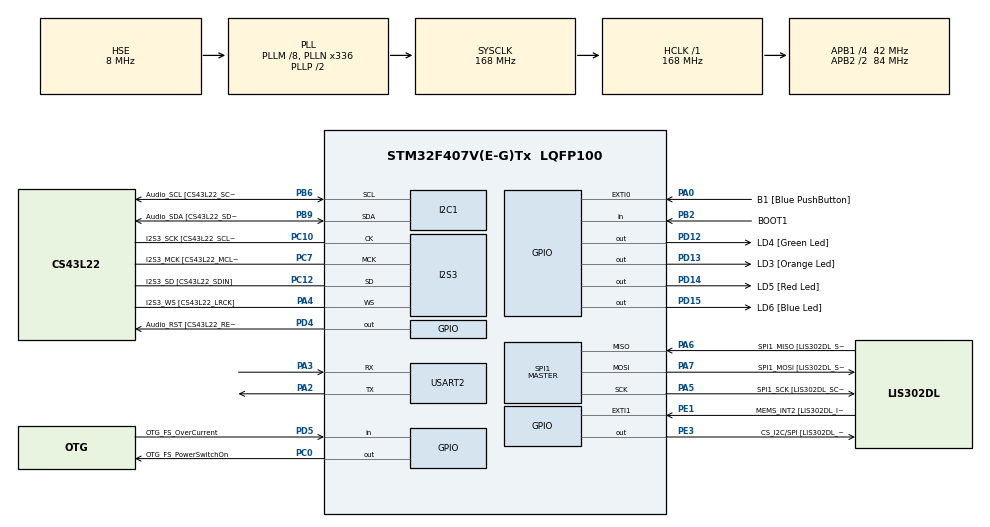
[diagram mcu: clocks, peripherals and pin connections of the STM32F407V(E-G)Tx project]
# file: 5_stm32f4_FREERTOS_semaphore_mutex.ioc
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FREERTOS.BinarySemaphores01=myBinarySem01,Dynamic,NULL
FREERTOS.Mutexes01=myUARTMutex,Dynamic,NULL
FREERTOS.Tasks01=defaultTask,24,1000,StartDefaultTask,Default,NULL,Dynamic,NULL,NULL;Green_LED,8,1000,Green_LED_task,Default,NULL,Dynamic,NULL,NULL;Red_LED,8,1000,Red_LED_task,Default,NULL,Dynamic,NULL,NULL
FREERTOS.configMINIMAL_STACK_SIZE=1000
FREERTOS.configTOTAL_HEAP_SIZE=100000
I2S3.AudioFreq-Half_Duplex_Master=I2S_AUDIOFREQ_96K
I2S3.ErrorAudioFreq=-2.34 %
I2S3.ErrorAudioFreq-Half_Duplex_Master=0.8 %
I2S3.FullDuplexMode=I2S_FULLDUPLEXMODE_DISABLE
I2S3.Instance=SPI$Index
I2S3.RealAudioFreq=93.75 KHz
I2S3.RealAudioFreq-Half_Duplex_Master=96.774 KHz
I2S3.VirtualMode=I2S_MODE_MASTER
Mcu.Family=STM32F4
Mcu.Name=STM32F407V(E-G)Tx
Mcu.Package=LQFP100
NVIC.EXTI0_IRQn=true\:5\:0\:false\:false\:true\:true\:true\:true
NVIC.PriorityGroup=NVIC_PRIORITYGROUP_4
NVIC.TIM8_TRG_COM_TIM14_IRQn=true\:0\:0\:false\:false\:true\:false\:false\:true
NVIC.TimeBase=TIM8_TRG_COM_TIM14_IRQn
NVIC.TimeBaseIP=TIM14
NVIC.USART2_IRQn=true\:5\:0\:false\:false\:true\:true\:true\:true
PA0-WKUP.GPIO_Label=B1 [Blue PushButton]
PA0-WKUP.GPIO_ModeDefaultEXTI=GPIO_MODE_IT_RISING
PA0-WKUP.GPIO_PuPd=GPIO_NOPULL
PA0-WKUP.Signal=GPXTI0
PA10.GPIO_Label=OTG_FS_ID
PA10.GPIO_Mode=GPIO_MODE_AF_PP
PA10.GPIO_PuPd=GPIO_NOPULL
PA10.GPIO_Speed=GPIO_SPEED_FREQ_LOW
PA10.Signal=USB_OTG_FS_ID
PA11.GPIO_Label=OTG_FS_DM
PA11.GPIO_Mode=GPIO_MODE_AF_PP
PA11.GPIO_PuPd=GPIO_NOPULL
PA11.GPIO_Speed=GPIO_SPEED_FREQ_LOW
PA11.Signal=USB_OTG_FS_DM
PA12.GPIO_Label=OTG_FS_DP
PA12.GPIO_Mode=GPIO_MODE_AF_PP
PA12.GPIO_PuPd=GPIO_NOPULL
PA12.GPIO_Speed=GPIO_SPEED_FREQ_LOW
PA12.Signal=USB_OTG_FS_DP
PA13.GPIO_Label=SWDIO
PA13.Mode=Serial_Wire
PA13.Signal=SYS_JTMS-SWDIO
PA14.GPIO_Label=SWCLK
PA14.Mode=Serial_Wire
PA14.Signal=SYS_JTCK-SWCLK
PA2.Mode=Asynchronous
PA2.Signal=USART2_TX
PA3.Mode=Asynchronous
PA3.Signal=USART2_RX
PA4.GPIO_Label=I2S3_WS [CS43L22_LRCK]
PA4.GPIO_Mode=GPIO_MODE_AF_PP
PA4.GPIO_PuPd=GPIO_NOPULL
PA4.GPIO_Speed=GPIO_SPEED_FREQ_LOW
PA4.Mode=Half_Duplex_Master
PA4.Signal=I2S3_WS
PA5.GPIO_Label=SPI1_SCK [LIS302DL_SCL/SPC]
PA5.GPIO_Mode=GPIO_MODE_AF_PP
PA5.GPIO_PuPd=GPIO_NOPULL
PA5.GPIO_Speed=GPIO_SPEED_FREQ_LOW
PA5.Mode=Full_Duplex_Master
PA5.Signal=SPI1_SCK
PA6.GPIO_Label=SPI1_MISO [LIS302DL_SDO]
PA6.GPIO_Mode=GPIO_MODE_AF_PP
PA6.GPIO_PuPd=GPIO_NOPULL
PA6.GPIO_Speed=GPIO_SPEED_FREQ_LOW
PA6.Mode=Full_Duplex_Master
PA6.Signal=SPI1_MISO
PA7.GPIO_Label=SPI1_MOSI [LIS302DL_SDA/SDI/SDO]
PA7.GPIO_Mode=GPIO_MODE_AF_PP
PA7.GPIO_PuPd=GPIO_NOPULL
PA7.GPIO_Speed=GPIO_SPEED_FREQ_LOW
PA7.Mode=Full_Duplex_Master
PA7.Signal=SPI1_MOSI
PA9.GPIO_Label=VBUS_FS
PA9.GPIO_Mode=GPIO_MODE_INPUT
PA9.GPIO_PuPd=GPIO_NOPULL
PA9.Signal=USB_OTG_FS_VBUS
PB10.GPIO_Label=CLK_IN [MP45DT02_CLK]
PB10.GPIO_Mode=GPIO_MODE_AF_PP
PB10.GPIO_PuPd=GPIO_NOPULL
PB10.GPIO_Speed=GPIO_SPEED_FREQ_LOW
PB10.Signal=I2S2_CK
PB2.GPIO_Label=BOOT1
PB2.GPIO_Mode=GPIO_MODE_INPUT
PB2.GPIO_PuPd=GPIO_NOPULL
PB2.Signal=GPIO_Input
PB3.GPIO_Label=SWO
PB3.Signal=SYS_JTDO-SWO
PB6.GPIO_Label=Audio_SCL [CS43L22_SCL]
PB6.GPIO_Mode=GPIO_MODE_AF_OD
PB6.GPIO_PuPd=GPIO_NOPULL
PB6.GPIO_Speed=GPIO_SPEED_FREQ_LOW
PB6.Mode=I2C
PB6.Signal=I2C1_SCL
PB9.GPIO_Label=Audio_SDA [CS43L22_SDA]
PB9.GPIO_Mode=GPIO_MODE_AF_OD
PB9.GPIO_PuPd=GPIO_NOPULL
PB9.GPIO_Speed=GPIO_SPEED_FREQ_LOW
PB9.Mode=I2C
PB9.Signal=I2C1_SDA
PC0.GPIO_Label=OTG_FS_PowerSwitchOn
PC0.GPIO_PuPd=GPIO_NOPULL
PC0.GPIO_Speed=GPIO_SPEED_FREQ_LOW
PC0.PinState=GPIO_PIN_SET
PC0.Signal=GPIO_Output
PC10.GPIO_Label=I2S3_SCK [CS43L22_SCLK]
PC10.GPIO_Mode=GPIO_MODE_AF_PP
PC10.GPIO_PuPd=GPIO_NOPULL
PC10.GPIO_Speed=GPIO_SPEED_FREQ_LOW
PC10.Mode=Half_Duplex_Master
PC10.Signal=I2S3_CK
PC12.GPIO_Label=I2S3_SD [CS43L22_SDIN]
PC12.GPIO_Mode=GPIO_MODE_AF_PP
PC12.GPIO_PuPd=GPIO_NOPULL
PC12.GPIO_Speed=GPIO_SPEED_FREQ_LOW
PC12.Mode=Half_Duplex_Master
PC12.Signal=I2S3_SD
PC14-OSC32_IN.GPIO_Label=PC14-OSC32_IN
PC14-OSC32_IN.Mode=LSE-External-Oscillator
PC14-OSC32_IN.Signal=RCC_OSC32_IN
PC15-OSC32_OUT.GPIO_Label=PC15-OSC32_OUT
PC15-OSC32_OUT.Mode=LSE-External-Oscillator
PC15-OSC32_OUT.Signal=RCC_OSC32_OUT
PC3.GPIO_Label=PDM_OUT [MP45DT02_DOUT]
PC3.GPIO_Mode=GPIO_MODE_AF_PP
PC3.GPIO_PuPd=GPIO_NOPULL
PC3.GPIO_Speed=GPIO_SPEED_FREQ_LOW
PC3.Signal=I2S2_SD
PC7.GPIO_Label=I2S3_MCK [CS43L22_MCLK]
PC7.GPIO_Mode=GPIO_MODE_AF_PP
PC7.GPIO_PuPd=GPIO_NOPULL
PC7.GPIO_Speed=GPIO_SPEED_FREQ_LOW
PC7.Mode=Master_Clock_Activated
PC7.Signal=I2S3_MCK
PD12.GPIO_Label=LD4 [Green Led]
PD12.GPIO_PuPd=GPIO_NOPULL
PD12.GPIO_Speed=GPIO_SPEED_FREQ_LOW
PD12.Signal=GPIO_Output
PD13.GPIO_Label=LD3 [Orange Led]
PD13.GPIO_PuPd=GPIO_NOPULL
PD13.GPIO_Speed=GPIO_SPEED_FREQ_LOW
PD13.Signal=GPIO_Output
PD14.GPIO_Label=LD5 [Red Led]
PD14.GPIO_PuPd=GPIO_NOPULL
PD14.GPIO_Speed=GPIO_SPEED_FREQ_LOW
PD14.Signal=GPIO_Output
PD15.GPIO_Label=LD6 [Blue Led]
PD15.GPIO_PuPd=GPIO_NOPULL
PD15.GPIO_Speed=GPIO_SPEED_FREQ_LOW
PD15.Signal=GPIO_Output
PD4.GPIO_Label=Audio_RST [CS43L22_RESET]
PD4.GPIO_PuPd=GPIO_NOPULL
PD4.GPIO_Speed=GPIO_SPEED_FREQ_LOW
PD4.Signal=GPIO_Output
PD5.GPIO_Label=OTG_FS_OverCurrent
PD5.GPIO_Mode=GPIO_MODE_INPUT
PD5.GPIO_PuPd=GPIO_NOPULL
PD5.Signal=GPIO_Input
PE1.GPIO_Label=MEMS_INT2 [LIS302DL_INT2]
PE1.GPIO_ModeDefaultEXTI=GPIO_MODE_EVT_RISING
PE1.GPIO_PuPd=GPIO_NOPULL
PE1.Signal=GPXTI1
PE3.GPIO_Label=CS_I2C/SPI [LIS302DL_CS_I2C/SPI]
PE3.GPIO_PuPd=GPIO_NOPULL
PE3.GPIO_Speed=GPIO_SPEED_FREQ_LOW
PE3.Signal=GPIO_Output
PH0-OSC_IN.GPIO_Label=PH0-OSC_IN
PH0-OSC_IN.Mode=HSE-External-Oscillator
PH0-OSC_IN.Signal=RCC_OSC_IN
PH1-OSC_OUT.GPIO_Label=PH1-OSC_OUT
PH1-OSC_OUT.Mode=HSE-External-Oscillator
PH1-OSC_OUT.Signal=RCC_OSC_OUT
ProjectManager.HeapSize=0x200
ProjectManager.StackSize=0x400
ProjectManager.TargetToolchain=STM32CubeIDE
RCC.48MHZClocksFreq_Value=48000000
RCC.AHBFreq_Value=168000000
RCC.APB1CLKDivider=RCC_HCLK_DIV4
RCC.APB1Freq_Value=42000000
RCC.APB1TimFreq_Value=84000000
RCC.APB2CLKDivider=RCC_HCLK_DIV2
RCC.APB2Freq_Value=84000000
RCC.APB2TimFreq_Value=168000000
RCC.CortexFreq_Value=168000000
RCC.HCLKFreq_Value=168000000
RCC.HSE_VALUE=8000000
RCC.HSI_VALUE=16000000
RCC.PLLM=8
RCC.PLLN=336
RCC.PLLQ=7
RCC.PLLSourceVirtual=RCC_PLLSOURCE_HSE
RCC.SYSCLKFreq_VALUE=168000000
RCC.SYSCLKSource=RCC_SYSCLKSOURCE_PLLCLK
RCC.VCOOutputFreq_Value=336000000
SPI1.BaudRatePrescaler-Full_Duplex_Master=SPI_BAUDRATEPRESCALER_2
SPI1.CalculateBaudRate-Full_Duplex_Master=42.0 MBits/s
SPI1.Direction=SPI_DIRECTION_2LINES
SPI1.Mode=SPI_MODE_MASTER
SPI1.Mode-Full_Duplex_Master=SPI_MODE_MASTER
SPI1.VirtualType=VM_MASTER
USART2.VirtualMode=VM_ASYNC
VP_FREERTOS_VS_CMSIS_V2.Mode=CMSIS_V2
VP_SYS_VS_tim14.Mode=TIM14
board=STM32F407G-DISC1

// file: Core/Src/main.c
/* USER CODE BEGIN Header */
/**
  ******************************************************************************
  * @file           : main.c
  * @brief          : Main program body
  ******************************************************************************
  * @attention
  *
  * <h2><center>&copy; Copyright (c) 2020 STMicroelectronics.
  * All rights reserved.</center></h2>
  *
  * This software component is licensed by ST under Ultimate Liberty license
  * SLA0044, the "License"; You may not use this file except in compliance with
  * the License. You may obtain a copy of the License at:
  *                             www.st.com/SLA0044
  *
  ******************************************************************************
  */
/* USER CODE END Header */

#include "main.h"
#include "cmsis_os.h"
#include "i2c.h"
#include "i2s.h"
#include "spi.h"
#include "usart.h"
#include "gpio.h"

/* USER CODE BEGIN Includes */

#include<stdio.h>
#include<string.h>

/* USER CODE END Includes */

void SystemClock_Config(void);
void MX_FREERTOS_Init(void);

int main(void)
{

  /* MCU Configuration--------------------------------------------------------*/

  /* Reset of all peripherals, Initializes the Flash interface and the Systick. */
  HAL_Init();

  /* Configure the system clock */
  SystemClock_Config();

  /* Initialize all configured peripherals */
  MX_GPIO_Init();
  MX_I2C1_Init();
  MX_I2S3_Init();
  MX_SPI1_Init();
  MX_USART2_UART_Init();
  /* USER CODE BEGIN 2 */
  LL_USART_EnableIT_RXNE(USART2);
  printf("OS INITIALIZING\n");
  /* USER CODE END 2 */
  /* Init scheduler */
  osKernelInitialize();

  /* Call init function for freertos objects (in freertos.c) */
  MX_FREERTOS_Init();

  /* Start scheduler */
  osKernelStart();

  /* We should never get here as control is now taken by the scheduler */

  /* Infinite loop */
  while (1)
  {

  }
}

void SystemClock_Config(void)
{
  RCC_OscInitTypeDef RCC_OscInitStruct = {0};
  RCC_ClkInitTypeDef RCC_ClkInitStruct = {0};
  RCC_PeriphCLKInitTypeDef PeriphClkInitStruct = {0};

  /** Configure the main internal regulator output voltage
  */
  __HAL_RCC_PWR_CLK_ENABLE();
  __HAL_PWR_VOLTAGESCALING_CONFIG(PWR_REGULATOR_VOLTAGE_SCALE1);
  /** Initializes the CPU, AHB and APB busses clocks
  */
  RCC_OscInitStruct.OscillatorType = RCC_OSCILLATORTYPE_HSE;
  RCC_OscInitStruct.HSEState = RCC_HSE_ON;
  RCC_OscInitStruct.PLL.PLLState = RCC_PLL_ON;
  RCC_OscInitStruct.PLL.PLLSource = RCC_PLLSOURCE_HSE;
  RCC_OscInitStruct.PLL.PLLM = 8;
  RCC_OscInitStruct.PLL.PLLN = 336;
  RCC_OscInitStruct.PLL.PLLP = RCC_PLLP_DIV2;
  RCC_OscInitStruct.PLL.PLLQ = 7;
  if (HAL_RCC_OscConfig(&RCC_OscInitStruct) != HAL_OK)
  {
    Error_Handler();
  }
  /** Initializes the CPU, AHB and APB busses clocks
  */
  RCC_ClkInitStruct.ClockType = RCC_CLOCKTYPE_HCLK|RCC_CLOCKTYPE_SYSCLK
                              |RCC_CLOCKTYPE_PCLK1|RCC_CLOCKTYPE_PCLK2;
  RCC_ClkInitStruct.SYSCLKSource = RCC_SYSCLKSOURCE_PLLCLK;
  RCC_ClkInitStruct.AHBCLKDivider = RCC_SYSCLK_DIV1;
  RCC_ClkInitStruct.APB1CLKDivider = RCC_HCLK_DIV4;
  RCC_ClkInitStruct.APB2CLKDivider = RCC_HCLK_DIV2;

  if (HAL_RCC_ClockConfig(&RCC_ClkInitStruct, FLASH_LATENCY_5) != HAL_OK)
  {
    Error_Handler();
  }
  PeriphClkInitStruct.PeriphClockSelection = RCC_PERIPHCLK_I2S;
  PeriphClkInitStruct.PLLI2S.PLLI2SN = 192;
  PeriphClkInitStruct.PLLI2S.PLLI2SR = 2;
  if (HAL_RCCEx_PeriphCLKConfig(&PeriphClkInitStruct) != HAL_OK)
  {
    Error_Handler();
  }
}

void HAL_TIM_PeriodElapsedCallback(TIM_HandleTypeDef *htim)
{
  if (htim->Instance == TIM14) {
    HAL_IncTick();
  }
}

void Error_Handler(void)
{
}

/************************ (C) COPYRIGHT STMicroelectronics *****END OF FILE****/

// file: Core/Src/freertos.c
/* USER CODE BEGIN Header */
/**
  ******************************************************************************
  * File Name          : freertos.c
  * Description        : Code for freertos applications
  ******************************************************************************
  * @attention
  *
  * <h2><center>&copy; Copyright (c) 2020 STMicroelectronics.
  * All rights reserved.</center></h2>
  *
  * This software component is licensed by ST under Ultimate Liberty license
  * SLA0044, the "License"; You may not use this file except in compliance with
  * the License. You may obtain a copy of the License at:
  *                             www.st.com/SLA0044
  *
  ******************************************************************************
  */
/* USER CODE END Header */

#include "FreeRTOS.h"
#include "task.h"
#include "main.h"
#include "cmsis_os.h"

/* USER CODE BEGIN Includes */
#include <stdio.h>
#include <string.h>
#include "usart.h"

#define MSGQUEUE_OBJECTS 200                     // number of Message Queue Objects

/* USER CODE END Includes */

/* Definitions for defaultTask */
osThreadId_t defaultTaskHandle;
const osThreadAttr_t defaultTask_attributes = {
  .name = "defaultTask",
  .priority = (osPriority_t) osPriorityNormal,
  .stack_size = 1000
};
/* Definitions for Green_LED */
osThreadId_t Green_LEDHandle;
const osThreadAttr_t Green_LED_attributes = {
  .name = "Green_LED",
  .priority = (osPriority_t) osPriorityLow,
  .stack_size = 1000
};
/* Definitions for Red_LED */
osThreadId_t Red_LEDHandle;
const osThreadAttr_t Red_LED_attributes = {
  .name = "Red_LED",
  .priority = (osPriority_t) osPriorityLow,
  .stack_size = 1000
};
/* Definitions for myUARTMutex */
osMutexId_t myUARTMutexHandle;
const osMutexAttr_t myUARTMutex_attributes = {
  .name = "myUARTMutex"
};
/* Definitions for myBinarySem01 */
osSemaphoreId_t myBinarySem01Handle;
const osSemaphoreAttr_t myBinarySem01_attributes = {
  .name = "myBinarySem01"
};

/* USER CODE BEGIN FunctionPrototypes */

typedef struct {                                // object data type
  uint8_t Buf[32];
  uint8_t Idx;
} MSGQUEUE_OBJ_t;

osMessageQueueId_t mid_MsgQueue;

/* USER CODE END FunctionPrototypes */

void StartDefaultTask(void *argument);
void Green_LED_task(void *argument);
void Red_LED_task(void *argument);

void MX_FREERTOS_Init(void); /* (MISRA C 2004 rule 8.1) */

void MX_FREERTOS_Init(void) {
  /* Create the mutex(es) */
  /* creation of myUARTMutex */
  myUARTMutexHandle = osMutexNew(&myUARTMutex_attributes);

  /* Create the semaphores(s) */
  /* creation of myBinarySem01 */
  myBinarySem01Handle = osSemaphoreNew(1, 1, &myBinarySem01_attributes);

  /* USER CODE BEGIN RTOS_QUEUES */
  /* add queues, ... */

  //mid_MsgQueue = osMessageQueueNew(MSGQUEUE_OBJECTS, sizeof(MSGQUEUE_OBJ_t), NULL);

  mid_MsgQueue = osMessageQueueNew(MSGQUEUE_OBJECTS, sizeof(uint8_t), NULL);

  /* USER CODE END RTOS_QUEUES */

  /* Create the thread(s) */
  /* creation of defaultTask */
  defaultTaskHandle = osThreadNew(StartDefaultTask, NULL, &defaultTask_attributes);

  /* creation of Green_LED */
  Green_LEDHandle = osThreadNew(Green_LED_task, NULL, &Green_LED_attributes);

  /* creation of Red_LED */
  Red_LEDHandle = osThreadNew(Red_LED_task, NULL, &Red_LED_attributes);

}

void StartDefaultTask(void *argument)
{
  /* USER CODE BEGIN StartDefaultTask */
  /* Infinite loop */
  for(;;)
  {

	  osSemaphoreAcquire(myBinarySem01Handle, osWaitForever);
	  osDelay(20);
	  if(GPIOA->IDR & 1<<0) {
		  GPIOD->ODR ^= (1 << 15);
	  }
	  osDelay(20);
	  osSemaphoreAcquire(myBinarySem01Handle, 10);
	// osMutexAcquire(myUARTMutexHandle, osWaitForever);
    //osDelay(1000);
	//osMutexRelease(myUARTMutexHandle);

  }
  /* USER CODE END StartDefaultTask */
}

void Green_LED_task(void *argument)
{
  /* USER CODE BEGIN Green_LED_task */
  /* Infinite loop */

 /** MSGQUEUE_OBJ_t msg; **/

  for(;;)
  {
	  osDelay(100);

	 /// 	osMutexAcquire(myUARTMutexHandle, osWaitForever);
	//	osSemaphoreAcquire(myBinarySem01Handle, osWaitForever);

	 /* 	  strcpy(msg.Buf, "RToS");
	      msg.Idx     = 0U;
	      osMessageQueuePut(mid_MsgQueue, &msg, 0U, 0U);   */

	///	printf("In Green Task\n");
	///	osMutexRelease(myUARTMutexHandle);
	//	osSemaphoreRelease(myBinarySem01Handle);

	/*osDelay(1000); */
  }
  /* USER CODE END Green_LED_task */
}

void Red_LED_task(void *argument)
{
  /* USER CODE BEGIN Red_LED_task */
  /* Infinite loop */

  char rx_data[2];
  rx_data[1] = '\0';
  char rx_buf[20];

  memset(rx_buf, 0, sizeof(rx_buf));

  for(;;)
  {

	///osMutexAcquire(myUARTMutexHandle, osWaitForever);
	//osSemaphoreAcquire(myBinarySem01Handle, osWaitForever);

	      if (osMessageQueueGet(mid_MsgQueue, &rx_data[0], NULL, 0U) == osOK) {
	    	   strcat(rx_buf, rx_data);
	    	   if(strstr(rx_buf, "\n") != 0)
	    	   {
	    		   strupr(rx_buf);

	    		   if(strstr(rx_buf, "ON") != 0) {
	    			   GPIOD->ODR |= (1 << 12);
	    			   memset(rx_buf, 0, sizeof(rx_buf));
	    		   }

	    		   if(strstr(rx_buf, "OFF") != 0) {
	    			   GPIOD->ODR &= ~(1 << 12);
	    			   memset(rx_buf, 0, sizeof(rx_buf));
	    		   }

	    	   }

	    	 // printf("%c", rx_data);
	      }

	///osMutexRelease(myUARTMutexHandle);
	//osSemaphoreRelease(myBinarySem01Handle);
//    osDelay(5);
  }
  /* USER CODE END Red_LED_task */
}

/* USER CODE BEGIN Application */

void USART2_IRQHandler(void)
{
	if (LL_USART_IsActiveFlag_RXNE(USART2)&& LL_USART_IsEnabledIT_RXNE(USART2))
	{
		uint8_t bufbyte = LL_USART_ReceiveData8(USART2);

		osMessageQueuePut(mid_MsgQueue, &bufbyte, 0U, 0U);
	}
	/* USER CODE END USART1_IRQn 2 */
}

/* USER CODE END Application */

/************************ (C) COPYRIGHT STMicroelectronics *****END OF FILE****/
